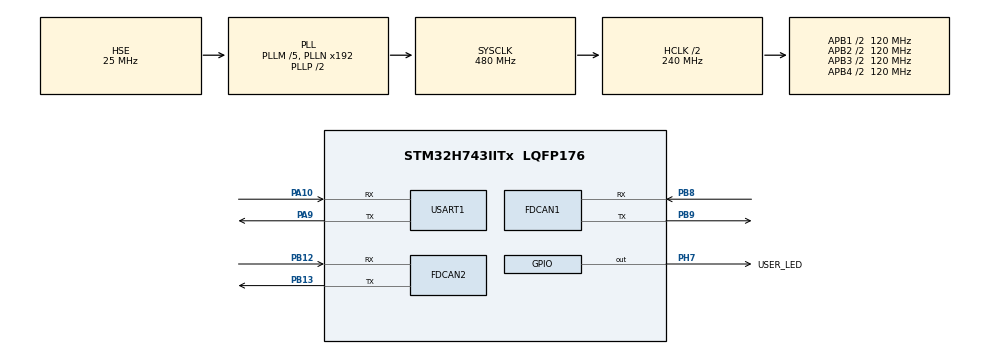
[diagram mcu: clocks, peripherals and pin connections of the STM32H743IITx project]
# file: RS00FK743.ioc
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CORTEX_M7.default_mode_Activation=1
FDCAN1.AutoRetransmission=ENABLE
FDCAN1.CalculateBaudRateNominal=1000000
FDCAN1.CalculateTimeBitNominal=1000
FDCAN1.CalculateTimeQuantumNominal=40.0
FDCAN1.DataTimeSeg1=1
FDCAN1.DataTimeSeg2=1
FDCAN1.ExtFiltersNbr=1
FDCAN1.NominalPrescaler=1
FDCAN1.NominalSyncJumpWidth=5
FDCAN1.NominalTimeSeg1=19
FDCAN1.NominalTimeSeg2=5
FDCAN1.RxFifo0ElmtsNbr=16
FDCAN1.StdFiltersNbr=1
FDCAN1.TxFifoQueueElmtsNbr=8
FDCAN2.AutoRetransmission=ENABLE
FDCAN2.CalculateBaudRateNominal=500000
FDCAN2.CalculateTimeBitNominal=2000
FDCAN2.CalculateTimeQuantumNominal=80.0
FDCAN2.DataTimeSeg1=1
FDCAN2.DataTimeSeg2=1
FDCAN2.ExtFiltersNbr=0
FDCAN2.MessageRAMOffset=99
FDCAN2.NominalPrescaler=2
FDCAN2.NominalSyncJumpWidth=5
FDCAN2.NominalTimeSeg1=19
FDCAN2.NominalTimeSeg2=5
FDCAN2.RxFifo0ElmtsNbr=16
FDCAN2.StdFiltersNbr=1
FDCAN2.TxFifoQueueElmtsNbr=8
Mcu.Family=STM32H7
Mcu.Name=STM32H743IITx
Mcu.Package=LQFP176
NVIC.FDCAN1_IT0_IRQn=true\:5\:0\:true\:false\:true\:true\:true\:true
NVIC.FDCAN2_IT0_IRQn=true\:5\:0\:true\:false\:true\:true\:true\:true
NVIC.PriorityGroup=NVIC_PRIORITYGROUP_4
PA10.Mode=Asynchronous
PA10.Signal=USART1_RX
PA13\ (JTMS/SWDIO).Mode=Serial_Wire
PA13\ (JTMS/SWDIO).Signal=DEBUG_JTMS-SWDIO
PA14\ (JTCK/SWCLK).Mode=Serial_Wire
PA14\ (JTCK/SWCLK).Signal=DEBUG_JTCK-SWCLK
PA9.Mode=Asynchronous
PA9.Signal=USART1_TX
PB8.GPIO_Speed=GPIO_SPEED_FREQ_VERY_HIGH
PB8.Mode=FDCAN_Activate
PB8.Signal=FDCAN1_RX
PB9.GPIO_Speed=GPIO_SPEED_FREQ_VERY_HIGH
PB9.Mode=FDCAN_Activate
PB9.Signal=FDCAN1_TX
PB12.GPIO_Speed=GPIO_SPEED_FREQ_VERY_HIGH
PB12.Mode=FDCAN_Activate
PB12.Signal=FDCAN2_RX
PB13.GPIO_Speed=GPIO_SPEED_FREQ_VERY_HIGH
PB13.Mode=FDCAN_Activate
PB13.Signal=FDCAN2_TX
PH0-OSC_IN\ (PH0).Mode=HSE-External-Oscillator
PH0-OSC_IN\ (PH0).Signal=RCC_OSC_IN
PH1-OSC_OUT\ (PH1).Mode=HSE-External-Oscillator
PH1-OSC_OUT\ (PH1).Signal=RCC_OSC_OUT
PH7.GPIO_Label=USER_LED
PH7.PinState=GPIO_PIN_SET
PH7.Signal=GPIO_Output
ProjectManager.HeapSize=0x800
ProjectManager.StackSize=0x1000
ProjectManager.TargetToolchain=CMake
RCC.ADCFreq_Value=50390625
RCC.APB1Freq_Value=120000000
RCC.APB2Freq_Value=120000000
RCC.APB3Freq_Value=120000000
RCC.APB4Freq_Value=120000000
RCC.CortexFreq_Value=480000000
RCC.D1PPRE=RCC_APB3_DIV2
RCC.D2PPRE1=RCC_APB1_DIV2
RCC.D2PPRE2=RCC_APB2_DIV2
RCC.D3PPRE=RCC_APB4_DIV2
RCC.DIVM1=5
RCC.DIVN1=192
RCC.DIVQ1=4
RCC.FDCANCLockSelection=RCC_FDCANCLKSOURCE_HSE
RCC.HCLKFreq_Value=240000000
RCC.HPRE=RCC_HCLK_DIV2
RCC.PLLFRACN=0
RCC.PLLSourceVirtual=RCC_PLLSOURCE_HSE
RCC.PWR_Regulator_Voltage_Scale=PWR_REGULATOR_VOLTAGE_SCALE0
RCC.SYSCLKFreq_VALUE=480000000
RCC.SYSCLKSource=RCC_SYSCLKSOURCE_PLLCLK
RCC.USBFreq_Value=240000000
USART1.VirtualMode-Asynchronous=VM_ASYNC
VP_MEMORYMAP_VS_MEMORYMAP.Mode=CurAppReg
board=custom

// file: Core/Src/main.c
/* USER CODE BEGIN Header */
/**
  ******************************************************************************
  * @file           : main.c
  * @brief          : Main program body
  ******************************************************************************
  * @attention
  *
  * Copyright (c) 2026 STMicroelectronics.
  * All rights reserved.
  *
  * This software is licensed under terms that can be found in the LICENSE file
  * in the root directory of this software component.
  * If no LICENSE file comes with this software, it is provided AS-IS.
  *
  ******************************************************************************
  */
/* USER CODE END Header */
#include "main.h"
#include "fdcan.h"
#include "usart.h"
#include "gpio.h"

/* USER CODE BEGIN Includes */
#include "steering_controller.h"
#include "chassis_translation_controller.h"
#include "host_cmd_vel_uart.h"
#include "chassis_debug.h"
#include "rs00_stm32_fdcan.h"
#include "drive_controller.h"
#include "system_watchdog.h"
#include "system_health.h"
#include "board_reliability_io.h"
/* USER CODE END Includes */

void SystemClock_Config(void);
static void MPU_Config(void);

int main(void)
{

  /* MPU Configuration--------------------------------------------------------*/
  MPU_Config();

  /* MCU Configuration--------------------------------------------------------*/

  /* Reset of all peripherals, Initializes the Flash interface and the Systick. */
  HAL_Init();

  /* USER CODE BEGIN Init */
  if (!SystemWatchdog_Init()) {
    Error_Handler();
  }
  /* USER CODE END Init */

  /* Configure the system clock */
  SystemClock_Config();

  /* USER CODE BEGIN SysInit */
  if (!SystemHealth_Init(SystemWatchdog_GetBootResetFlags())) {
    Error_Handler();
  }
  /* USER CODE END SysInit */

  /* Initialize all configured peripherals */
  MX_GPIO_Init();
  MX_FDCAN1_Init();
  MX_FDCAN2_Init();
  MX_USART1_UART_Init();
  /* USER CODE BEGIN 2 */
  BoardReliabilityIO_Init();
  ChassisDebug_Init();
  SteeringController_Init(&hfdcan1);
  ChassisTranslation_Init();
  if (!mini_fdcan_start(&hfdcan2, DriveController_OnCanFrame)) {
    Error_Handler();
  }
  if (!HostCmdVelUart_Init(&huart1)) {
    Error_Handler();
  }
  SystemHealth_RuntimeInit();
  /* USER CODE END 2 */

  /* Infinite loop */
  while (1)
  {

    /* USER CODE BEGIN 3 */
    SystemHealth_LoopBegin();
    BoardReliabilityIO_PollInputs();
    SteeringController_Task();
    HostCmdVelUart_Task();
    ChassisTranslation_Task();
    SystemHealth_Task();
    SystemHealth_LoopEnd();
    SystemWatchdog_Refresh();
    BoardReliabilityIO_Heartbeat();
  }
  /* USER CODE END 3 */
}

void SystemClock_Config(void)
{
  RCC_OscInitTypeDef RCC_OscInitStruct = {0};
  RCC_ClkInitTypeDef RCC_ClkInitStruct = {0};

  /** Supply configuration update enable
  */
  HAL_PWREx_ConfigSupply(PWR_LDO_SUPPLY);

  /** Configure the main internal regulator output voltage
  */
  __HAL_PWR_VOLTAGESCALING_CONFIG(PWR_REGULATOR_VOLTAGE_SCALE0);

  while(!__HAL_PWR_GET_FLAG(PWR_FLAG_VOSRDY)) {}

  /** Initializes the RCC Oscillators according to the specified parameters
  * in the RCC_OscInitTypeDef structure.
  */
  RCC_OscInitStruct.OscillatorType = RCC_OSCILLATORTYPE_HSE;
  RCC_OscInitStruct.HSEState = RCC_HSE_ON;
  RCC_OscInitStruct.PLL.PLLState = RCC_PLL_ON;
  RCC_OscInitStruct.PLL.PLLSource = RCC_PLLSOURCE_HSE;
  RCC_OscInitStruct.PLL.PLLM = 5;
  RCC_OscInitStruct.PLL.PLLN = 192;
  RCC_OscInitStruct.PLL.PLLP = 2;
  RCC_OscInitStruct.PLL.PLLQ = 4;
  RCC_OscInitStruct.PLL.PLLR = 2;
  RCC_OscInitStruct.PLL.PLLRGE = RCC_PLL1VCIRANGE_2;
  RCC_OscInitStruct.PLL.PLLVCOSEL = RCC_PLL1VCOWIDE;
  RCC_OscInitStruct.PLL.PLLFRACN = 0;
  if (HAL_RCC_OscConfig(&RCC_OscInitStruct) != HAL_OK)
  {
    Error_Handler();
  }

  /** Initializes the CPU, AHB and APB buses clocks
  */
  RCC_ClkInitStruct.ClockType = RCC_CLOCKTYPE_HCLK|RCC_CLOCKTYPE_SYSCLK
                              |RCC_CLOCKTYPE_PCLK1|RCC_CLOCKTYPE_PCLK2
                              |RCC_CLOCKTYPE_D3PCLK1|RCC_CLOCKTYPE_D1PCLK1;
  RCC_ClkInitStruct.SYSCLKSource = RCC_SYSCLKSOURCE_PLLCLK;
  RCC_ClkInitStruct.SYSCLKDivider = RCC_SYSCLK_DIV1;
  RCC_ClkInitStruct.AHBCLKDivider = RCC_HCLK_DIV2;
  RCC_ClkInitStruct.APB3CLKDivider = RCC_APB3_DIV2;
  RCC_ClkInitStruct.APB1CLKDivider = RCC_APB1_DIV2;
  RCC_ClkInitStruct.APB2CLKDivider = RCC_APB2_DIV2;
  RCC_ClkInitStruct.APB4CLKDivider = RCC_APB4_DIV2;

  if (HAL_RCC_ClockConfig(&RCC_ClkInitStruct, FLASH_LATENCY_4) != HAL_OK)
  {
    Error_Handler();
  }
}

/* USER CODE BEGIN 4 */
void HAL_FDCAN_RxFifo0Callback(FDCAN_HandleTypeDef *hfdcan,
                               uint32_t RxFifo0ITs)
{
  if ((RxFifo0ITs & FDCAN_IT_RX_FIFO0_NEW_MESSAGE) != 0U)
  {
    rs00_fdcan_on_rx_fifo0(hfdcan);
  }
}

void HAL_FDCAN_TxFifoEmptyCallback(FDCAN_HandleTypeDef *hfdcan)
{
  rs00_fdcan_on_tx_fifo_empty(hfdcan);
}

void HAL_UART_RxCpltCallback(UART_HandleTypeDef *huart)
{
  HostCmdVelUart_RxCompleteCallback(huart);
}

void HAL_UART_ErrorCallback(UART_HandleTypeDef *huart)
{
  HostCmdVelUart_ErrorCallback(huart);
}

void HAL_UART_TxCpltCallback(UART_HandleTypeDef *huart)
{
  HostCmdVelUart_TxCompleteCallback(huart);
}
/* USER CODE END 4 */

 /* MPU Configuration */

void MPU_Config(void)
{
  MPU_Region_InitTypeDef MPU_InitStruct = {0};

  /* Disables the MPU */
  HAL_MPU_Disable();

  /** Initializes and configures the Region and the memory to be protected
  */
  MPU_InitStruct.Enable = MPU_REGION_ENABLE;
  MPU_InitStruct.Number = MPU_REGION_NUMBER0;
  MPU_InitStruct.BaseAddress = 0x0;
  MPU_InitStruct.Size = MPU_REGION_SIZE_4GB;
  MPU_InitStruct.SubRegionDisable = 0x87;
  MPU_InitStruct.TypeExtField = MPU_TEX_LEVEL0;
  MPU_InitStruct.AccessPermission = MPU_REGION_NO_ACCESS;
  MPU_InitStruct.DisableExec = MPU_INSTRUCTION_ACCESS_DISABLE;
  MPU_InitStruct.IsShareable = MPU_ACCESS_SHAREABLE;
  MPU_InitStruct.IsCacheable = MPU_ACCESS_NOT_CACHEABLE;
  MPU_InitStruct.IsBufferable = MPU_ACCESS_NOT_BUFFERABLE;

  HAL_MPU_ConfigRegion(&MPU_InitStruct);
  /* Enables the MPU */
  HAL_MPU_Enable(MPU_PRIVILEGED_DEFAULT);

}

void Error_Handler(void)
{
  /* USER CODE BEGIN Error_Handler_Debug */
  /* User can add his own implementation to report the HAL error return state */
  __disable_irq();
  SystemHealth_RecordErrorHandler(0U);
  while (1)
  {
  }
  /* USER CODE END Error_Handler_Debug */
}
